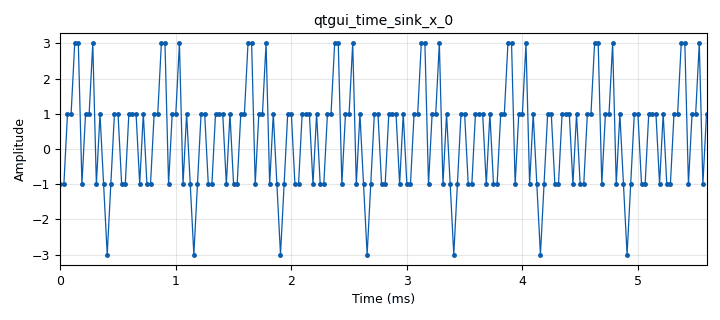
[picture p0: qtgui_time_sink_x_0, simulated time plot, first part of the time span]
options:
  parameters:
    author: Peter Mathys
    category: Custom
    description: Conversion from bytes to M-ary symbols
    generate_options: qt_gui
    id: byte2sym
    output_language: python
    title: Byte to Float Symbols
  states: {}

blocks:
- name: M
  id: variable
  parameters:
    value: 2**a_bpsym
  states: {}
- name: samp_rate
  id: variable
  parameters:
    value: '32000'
  states: {}
- name: tag
  id: variable_tag_object
  parameters:
    key: pmt.intern("Z")
    offset: '0'
    src: pmt.intern("Vsrc")
    value: pmt.intern("0x5a")
  states: {}
- name: a_bpsym
  id: parameter
  parameters:
    label: Bits per symbol
    type: intx
    value: '2'
  states: {}
- name: bit_endianess
  id: parameter
  parameters:
    label: MSB first
    type: intx
    value: '1'
  states: {}
- name: bits_to_use_per_byte_mask
  id: parameter
  parameters:
    label: Bits to use per byte mask
    type: intx
    value: '255'
  states: {}
- name: blocks_add_const_vxx_0
  id: blocks_add_const_vxx
  parameters:
    const: '-c_pol*(M-1)+(1-c_pol)*0'
    type: float
  states: {}
- name: blocks_and_const_xx_0
  id: blocks_and_const_xx
  parameters:
    const: bits_to_use_per_byte_mask
    type: byte
  states: {}
- name: blocks_char_to_float_0
  id: blocks_char_to_float
  parameters:
    scale: c_pol*0.5+(1-c_pol)
  states: {}
- name: blocks_packed_to_unpacked_xx_0
  id: blocks_packed_to_unpacked_xx
  parameters:
    bits_per_chunk: a_bpsym
    endianness: gr.GR_LSB_FIRST
    type: byte
  states: {}
- name: blocks_throttle_0
  id: blocks_throttle
  parameters:
    samples_per_second: samp_rate
    type: float
  states: {}
- name: blocks_vector_source_x_0
  id: blocks_vector_source_x
  parameters:
    repeat: 'True'
    tags: '[tag]'
    type: byte
    vector: list(ord(i) for i in 'Zombie')
  states: {}
- name: c_pol
  id: parameter
  parameters:
    label: Polar
    type: intx
    value: '1'
  states: {}
- name: d_inv
  id: parameter
  parameters:
    label: Invert Bits
    type: intx
    value: '0'
  states: {}
- name: digital_map_bb_1
  id: digital_map_bb
  parameters:
    map: d_inv*list(2**8-1-i for i in range(2**8))+(1-d_inv)*list(range(2**8))
  states: {}
- name: qtgui_time_sink_x_0
  id: qtgui_time_sink_x
  parameters:
    autoscale: 'True'
    ctrlpanel: 'True'
    label1: ''
    marker1: '0'
    size: '1024'
    srate: samp_rate
    tr_mode: qtgui.TRIG_MODE_TAG
    tr_tag: '"Z"'
    type: float
  states: {}

connections:
- [blocks_add_const_vxx_0, '0', blocks_throttle_0, '0']
- [blocks_and_const_xx_0, '0', digital_map_bb_1, '0']
- [blocks_char_to_float_0, '0', blocks_add_const_vxx_0, '0']
- [blocks_packed_to_unpacked_xx_0, '0', blocks_char_to_float_0, '0']
- [blocks_throttle_0, '0', qtgui_time_sink_x_0, '0']
- [blocks_vector_source_x_0, '0', blocks_and_const_xx_0, '0']
- [digital_map_bb_1, '0', blocks_packed_to_unpacked_xx_0, '0']

metadata:
  file_format: 1
